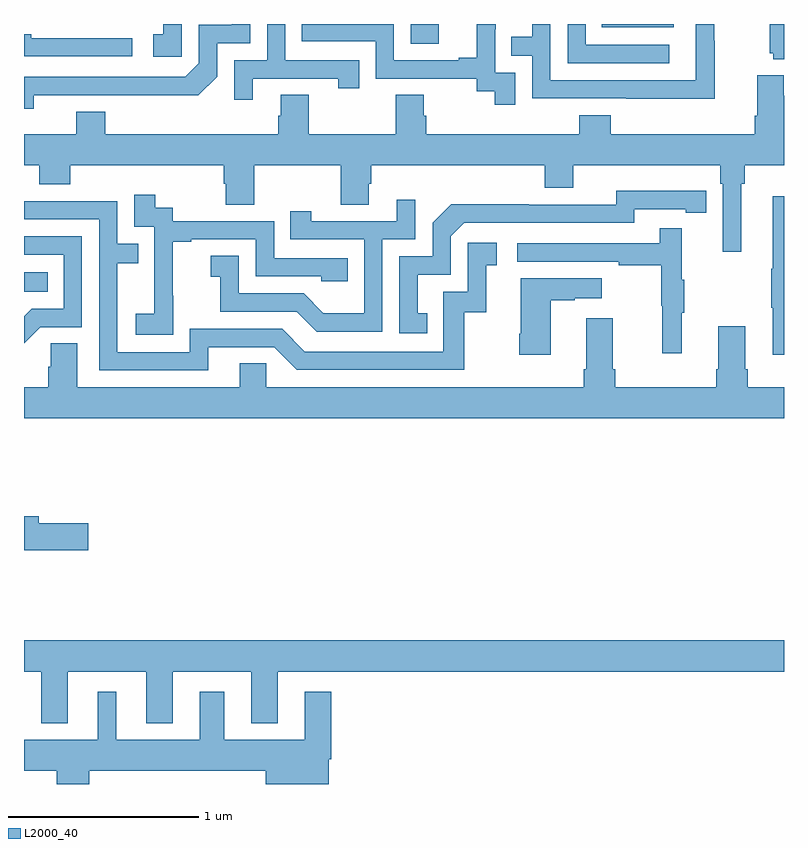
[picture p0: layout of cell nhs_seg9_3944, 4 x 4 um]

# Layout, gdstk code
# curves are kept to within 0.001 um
import gdstk
lib = gdstk.Library(unit=1e-6, precision=1e-09)
def R(c, l, rs):  # rectangles x0, y0, x1, y1
    for r in rs: c.add(gdstk.rectangle(r[:2], r[2:], *l))
def P(c, l, *ps):  # polygons
    for p in ps: c.add(gdstk.Polygon(p, *l))
L2000_40 = (2000, 40)

nhs_seg9_3944 = lib.new_cell('nhs_seg9_3944')
R(nhs_seg9_3944, L2000_40, [(337,1193.09,337.124,1193.194), (339.036,1194.396,339.184,1194.5), (340.042,1194.482,340.42,1194.5)])
P(nhs_seg9_3944, L2000_40, [(337.83,1194.5),(337.733,1194.5),(337.733,1194.447),(337.68,1194.447),(337.68,1194.327),(337.83,1194.327)],
  [(339.585,1194.243),(339.48,1194.243),(339.48,1194.473),(339.482,1194.473),(339.482,1194.5),(339.383,1194.5),(339.383,1194.322),(339.287,1194.322),(339.287,1194.309),(338.946,1194.309),(338.946,1194.5),(338.461,1194.5),(338.461,1194.408),(338.85,1194.408),(338.85,1194.213),(339.384,1194.213),(339.384,1194.145),(339.477,1194.145),(339.477,1194.075),(339.585,1194.075)],
  [(341,1194.5),(340.925,1194.5),(340.925,1194.345),(340.943,1194.345),(340.943,1194.314),(341,1194.314)],
  [(338.203,1194.213),(338.654,1194.213),(338.654,1194.162),(338.765,1194.162),(338.765,1194.309),(338.376,1194.309),(338.376,1194.5),(338.28,1194.5),(338.28,1194.309),(338.106,1194.309),(338.106,1194.102),(338.203,1194.102)],
  [(340.396,1194.39),(339.957,1194.39),(339.957,1194.5),(339.861,1194.5),(339.861,1194.294),(340.396,1194.294)],
  [(340.635,1194.413),(340.632,1194.413),(340.632,1194.5),(340.536,1194.5),(340.536,1194.204),(339.771,1194.204),(339.771,1194.5),(339.675,1194.5),(339.675,1194.434),(339.565,1194.434),(339.565,1194.333),(339.675,1194.333),(339.675,1194.108),(340.171,1194.108),(340.171,1194.107),(340.635,1194.107)],
  [(337.05,1194.126),(337.918,1194.125),(338.016,1194.222),(338.016,1194.399),(338.19,1194.399),(338.19,1194.5),(338.093,1194.5),(338.093,1194.495),(337.92,1194.495),(337.92,1194.294),(337.848,1194.222),(337,1194.222),(337,1194.053),(337.05,1194.053)],
  [(337.57,1194.426),(337.037,1194.426),(337.037,1194.446),(337,1194.446),(337,1194.33),(337.57,1194.33)],
  [(340.774,1193.66),(340.793,1193.66),(340.793,1193.756),(341,1193.756),(341,1194.122),(340.999,1194.122),(340.999,1194.229),(340.859,1194.229),(340.859,1194.016),(340.847,1194.016),(340.847,1193.92),(340.088,1193.92),(340.088,1194.019),(339.923,1194.019),(339.923,1193.92),(339.116,1193.92),(339.116,1194.018),(339.103,1194.018),(339.103,1194.128),(338.956,1194.128),(338.956,1193.92),(338.499,1193.92),(338.499,1194.128),(338.351,1194.128),(338.351,1194.018),(338.339,1194.018),(338.339,1193.92),(337.427,1193.92),(337.427,1194.037),(337.274,1194.037),(337.274,1193.92),(337,1193.92),(337,1193.756),(337.079,1193.756),(337.079,1193.657),(337.244,1193.657),(337.244,1193.756),(338.051,1193.756),(338.051,1193.658),(338.063,1193.658),(338.063,1193.548),(338.211,1193.548),(338.211,1193.756),(338.668,1193.756),(338.668,1193.548),(338.815,1193.548),(338.815,1193.658),(338.828,1193.658),(338.828,1193.756),(339.74,1193.756),(339.74,1193.639),(339.892,1193.639),(339.892,1193.756),(340.664,1193.756),(340.664,1193.66),(340.677,1193.66),(340.677,1193.301),(340.774,1193.301)],
  [(339.122,1192.977),(339.073,1192.977),(339.073,1193.181),(339.246,1193.181),(339.246,1193.382),(339.318,1193.454),(340.212,1193.454),(340.212,1193.526),(340.484,1193.526),(340.484,1193.506),(340.592,1193.506),(340.592,1193.622),(340.116,1193.623),(340.116,1193.55),(339.656,1193.55),(339.656,1193.552),(339.248,1193.552),(339.15,1193.454),(339.15,1193.277),(338.976,1193.277),(338.976,1192.872),(339.122,1192.872)],
  [(337.785,1193.071),(337.784,1193.071),(337.784,1193.355),(337.879,1193.355),(337.879,1193.367),(338.22,1193.367),(338.22,1193.172),(338.565,1193.172),(338.565,1193.145),(338.705,1193.145),(338.705,1193.268),(338.316,1193.268),(338.316,1193.463),(337.782,1193.463),(337.782,1193.532),(337.69,1193.532),(337.69,1193.602),(337.581,1193.602),(337.581,1193.433),(337.686,1193.433),(337.686,1193.204),(337.685,1193.204),(337.685,1192.975),(337.587,1192.975),(337.587,1192.865),(337.785,1192.865)],
  [(341,1193.593),(340.94,1193.593),(340.94,1193.213),(340.933,1193.213),(340.933,1193.007),(340.94,1193.007),(340.94,1192.758),(341,1192.758)],
  [(338.886,1193.367),(339.06,1193.367),(339.06,1193.575),(338.963,1193.575),(338.963,1193.463),(338.512,1193.463),(338.512,1193.515),(338.401,1193.515),(338.401,1193.367),(338.79,1193.367),(338.79,1192.978),(338.576,1192.978),(338.472,1193.082),(338.13,1193.082),(338.13,1193.281),(337.983,1193.281),(337.983,1193.171),(338.032,1193.171),(338.032,1192.986),(338.435,1192.986),(338.54,1192.881),(338.886,1192.881)],
  [(337.969,1192.8),(338.316,1192.8),(338.436,1192.68),(339.316,1192.68),(339.316,1192.983),(339.434,1192.983),(339.434,1193.229),(339.487,1193.229),(339.487,1193.35),(339.336,1193.35),(339.336,1193.091),(339.207,1193.091),(339.207,1192.776),(338.478,1192.776),(338.358,1192.896),(337.872,1192.896),(337.872,1192.773),(337.491,1192.773),(337.491,1193.242),(337.601,1193.242),(337.601,1193.343),(337.491,1193.343),(337.491,1193.568),(337,1193.568),(337,1193.472),(337.395,1193.472),(337.395,1192.677),(337.969,1192.677)],
  [(340.463,1192.979),(340.474,1192.979),(340.474,1193.153),(340.463,1193.153),(340.463,1193.425),(340.345,1193.425),(340.345,1193.346),(339.597,1193.346),(339.597,1193.25),(340.129,1193.25),(340.129,1193.23),(340.353,1193.23),(340.353,1193.016),(340.36,1193.016),(340.36,1192.767),(340.463,1192.767)],
  [(337.086,1192.905),(337.305,1192.905),(337.305,1193.382),(337,1193.382),(337,1193.286),(337.209,1193.286),(337.209,1193.001),(337.04,1193.001),(337,1192.961),(337,1192.82)],
  [(339.772,1193.047),(339.899,1193.047),(339.899,1193.057),(340.042,1193.057),(340.042,1193.161),(339.614,1193.161),(339.614,1192.87),(339.607,1192.87),(339.607,1192.758),(339.772,1192.758)],
  [(341,1192.588),(340.808,1192.588),(340.808,1192.684),(340.795,1192.684),(340.795,1192.909),(340.655,1192.909),(340.655,1192.684),(340.643,1192.684),(340.643,1192.588),(340.112,1192.588),(340.112,1192.684),(340.099,1192.684),(340.099,1192.951),(339.959,1192.951),(339.959,1192.684),(339.947,1192.684),(339.947,1192.588),(338.274,1192.588),(338.274,1192.715),(338.135,1192.715),(338.135,1192.588),(337.279,1192.588),(337.279,1192.82),(337.14,1192.82),(337.14,1192.697),(337.127,1192.697),(337.127,1192.588),(337,1192.588),(337,1192.424),(341,1192.424)],
  [(337.339,1191.872),(337.078,1191.872),(337.078,1191.908),(337,1191.908),(337,1191.73),(337.339,1191.73)],
  [(337.231,1191.092),(337.643,1191.092),(337.643,1190.819),(337.783,1190.819),(337.783,1191.092),(338.195,1191.092),(338.195,1190.819),(338.335,1190.819),(338.335,1191.092),(341,1191.092),(341,1191.256),(337,1191.256),(337,1191.092),(337.091,1191.092),(337.091,1190.819),(337.231,1190.819)],
  [(337.343,1190.57),(338.273,1190.57),(338.273,1190.5),(338.605,1190.5),(338.605,1190.63),(338.618,1190.63),(338.618,1190.986),(338.477,1190.986),(338.477,1190.734),(338.053,1190.734),(338.053,1190.986),(337.925,1190.986),(337.925,1190.734),(337.486,1190.734),(337.486,1190.986),(337.388,1190.986),(337.388,1190.734),(337,1190.734),(337,1190.57),(337.172,1190.57),(337.172,1190.5),(337.343,1190.5)])

lib.write_gds('nhs_seg9_3944.gds')
